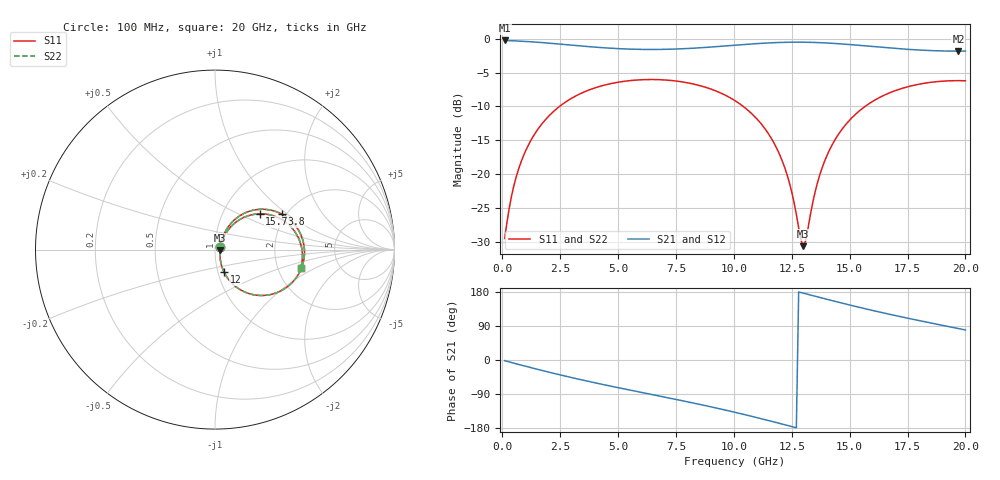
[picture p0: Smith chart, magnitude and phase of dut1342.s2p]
! Touchstone file exported from HFSS 2026.1.0
!  File:  C:/ffzhzh/LocalFiles/Ansys_Project_Files/temp_train_TSV_RDL_1342_1783339165_30076.aedt
!  Generated:  08:12:32 PM Jul  6, 2026
!  Design:  TSV_RDL
!  Project:  temp_train_TSV_RDL_1342_1783339165_30076
! Variables:
!  h_bsmrdl = 4.97um
!  h_ox = 20um
!  h_rdl = 5um
!  h_sub = 68.74um
!  h_tmrdl = 2.25um
!  h_tsv = 68.74um
!  h_via = 3um
!  l_bsmrdl = 671.1um
!  l_sub = 4862.36um
!  l_tmrdl = 581.2um
!  m_sub = 200um
!  pitch = 39.74um
!  r_tsv = 3.08um
!  s_tmrdl = 10um
!  w_bsmrdl = 15.88um
!  w_sub = 500um
!  w_tmrdl = 25.54um
!  x_tsv_center1 = 593.97um
!  x_tsv_center2 = 1280.95um
!  x_tsv_center3 = 1887.69um
!  x_tsv_center4 = 2574.67um
!  x_tsv_center5 = 3181.41um
!  x_tsv_center6 = 3868.39um
# GHz S MA R 50.000000
! Terminal data exported
! Port[1] = TM_RDL1_1_T1
! Port[2] = TM_RDL5_1_T1
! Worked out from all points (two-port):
!   200 points, 100 MHz to 20 GHz, reference 50 ohm
!   highest |S21| = -0.26 dB at 100 MHz (marker M1); lowest = -1.8 dB at 19.7 GHz (marker M2)
!   |S21| within 3 dB of the highest: start of sweep to end of sweep
!   lowest |S11| = -30.7 dB at 13 GHz (marker M3), VSWR 1.06, Z = 53 - j0.371 ohm
!   |S11| at or under -10 dB: start of sweep to 2.476 GHz; 10.4 GHz to 15.67 GHz (5.271 GHz wide, 40.4 % of centre)
!   |S22| runs from -30.6 to -6.0 dB; largest |S21 - S12| = 2e-14
!   S11 on the Smith chart (normalised r, x): 100 MHz: 1.06, +0.03; 3.8 GHz: 1.90, +0.91; 12 GHz: 1.07, -0.28; 15.7 GHz: 1.49, +0.66; 20 GHz: 2.69, -0.71
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0.1  0.03331 27.0  0.9707 -1.7  0.9707 -1.7  0.03331 27.0
! Gamma 0 0 0 0
! Port Impedance 50 0 50 0
0.5  0.08185 58.0  0.9644 -8.4  0.9644 -8.4  0.08185 58.0
1.2  0.1727 58.6  0.95 -19.6  0.95 -19.6  0.1727 58.6
2.2  0.2885 47.9  0.9216 -34.9  0.9216 -34.9  0.2885 47.9
3.5  0.4014 31.7  0.8804 -53.4  0.8804 -53.4  0.4014 31.7
3.8  0.4211 28.0  0.8717 -57.5  0.8717 -57.5  0.4211 28.0
5.3  0.4852 10.0  0.8402 -76.8  0.8402 -76.8  0.4852 10.0
6.8  0.4977 -7.5  0.8333 -95.3  0.8333 -95.3  0.4977 -7.5
8.6  0.4467 -28.9  0.8579 -118.1  0.8579 -118.1  0.4466 -28.9
10.1  0.3439 -47.7  0.8966 -138.7  0.8966 -138.7  0.3439 -47.7
11.2  0.2325 -61.1  0.9246 -155.1  0.9246 -155.1  0.2325 -61.1
12  0.1362 -68.1  0.9384 -167.6  0.9384 -167.6  0.1362 -68.0
12.4  0.08594 -66.7  0.9419 -174.0  0.9419 -174.0  0.08594 -66.7
13  0.02925 -6.9  0.9423 176.4  0.9423 176.4  0.02935 -6.8
13.4  0.06056 49.0  0.9393 170.0  0.9393 170.0  0.06065 48.9
13.8  0.1094 56.2  0.9337 163.6  0.9337 163.6  0.1095 56.2
14.3  0.1706 54.3  0.9237 155.8  0.9237 155.8  0.1707 54.2
15.7  0.3187 38.8  0.8843 134.9  0.8843 134.9  0.3187 38.7
16.7  0.3962 26.5  0.8547 121.0  0.8547 121.0  0.3963 26.5
18.2  0.4676 8.7  0.8213 101.5  0.8213 101.5  0.4676 8.6
19.7  0.4897 -8.5  0.8093 82.9  0.8093 82.9  0.4897 -8.6
20  0.4885 -11.9  0.8098 79.2  0.8098 79.2  0.4885 -12.0
